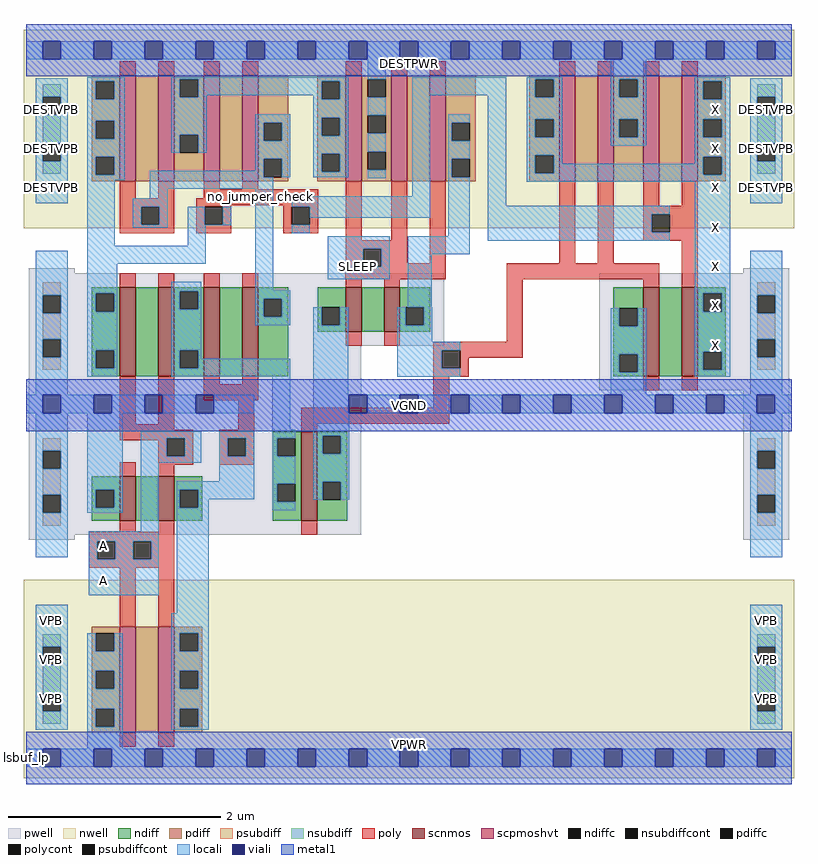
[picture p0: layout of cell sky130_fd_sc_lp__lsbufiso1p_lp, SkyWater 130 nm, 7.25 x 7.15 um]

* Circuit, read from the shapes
.subckt sky130_fd_sc_lp__lsbufiso1p_lp A DESTPWR DESTVPB SLEEP VGND VPB VPWR X
XM1 n1 A VGND VGND sky130_fd_pr__nfet_01v8 w=0.42 l=0.15
XM2 n2 A n3 VGND sky130_fd_pr__nfet_01v8 w=0.84 l=0.15
XM3 n4 A n1 VGND sky130_fd_pr__nfet_01v8 w=0.42 l=0.15
XM4 n5 A n2 VGND sky130_fd_pr__nfet_01v8 w=0.84 l=0.15
XM5 n6 n4 n5 VGND sky130_fd_pr__nfet_01v8 w=0.84 l=0.15
XM6 n7 n4 n6 VGND sky130_fd_pr__nfet_01v8 w=0.84 l=0.15
XM7 VGND n8 n5 VGND sky130_fd_pr__nfet_01v8 w=0.84 l=0.15
XM8 n9 SLEEP VGND VGND sky130_fd_pr__nfet_01v8 w=0.42 l=0.15
XM9 n8 SLEEP n9 VGND sky130_fd_pr__nfet_01v8 w=0.42 l=0.15
XM10 n10 n8 VGND VGND sky130_fd_pr__nfet_01v8 w=0.84 l=0.15
XM11 X n3 n10 VGND sky130_fd_pr__nfet_01v8 w=0.84 l=0.15
XM12 n11 A VPWR VPB sky130_fd_pr__pfet_01v8_hvt w=1 l=0.15
XM13 n12 n7 n3 DESTVPB sky130_fd_pr__pfet_01v8_hvt w=1 l=0.15
XM14 n4 A n11 VPB sky130_fd_pr__pfet_01v8_hvt w=1 l=0.15
XM15 n13 n7 n12 DESTVPB sky130_fd_pr__pfet_01v8_hvt w=1 l=0.15
XM16 n14 n3 n13 DESTVPB sky130_fd_pr__pfet_01v8_hvt w=1 l=0.15
XM17 n7 n3 n14 DESTVPB sky130_fd_pr__pfet_01v8_hvt w=1 l=0.15
XM18 DESTPWR SLEEP n13 DESTVPB sky130_fd_pr__pfet_01v8_hvt w=1 l=0.15
XM19 n15 SLEEP DESTPWR DESTVPB sky130_fd_pr__pfet_01v8_hvt w=1 l=0.15
XM20 n8 SLEEP n15 DESTVPB sky130_fd_pr__pfet_01v8_hvt w=1 l=0.15
XM21 n16 n8 X DESTVPB sky130_fd_pr__pfet_01v8_hvt w=1 l=0.15
XM22 DESTPWR n8 n16 DESTVPB sky130_fd_pr__pfet_01v8_hvt w=1 l=0.15
XM23 n17 n3 DESTPWR DESTVPB sky130_fd_pr__pfet_01v8_hvt w=1 l=0.15
XM24 X n3 n17 DESTVPB sky130_fd_pr__pfet_01v8_hvt w=1 l=0.15
.ends

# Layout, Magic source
magic
tech sky130A
magscale 1 2
<< nwell >>
rect -5 997 1445 1370
rect -5 -38 1445 335
<< pwell >>
rect 5 912 91 921
rect 1349 912 1435 921
rect 5 776 786 912
rect 5 420 630 776
rect 1078 692 1435 912
rect 5 411 91 420
rect 1349 411 1435 692
<< scnmos >>
rect 176 718 206 886
rect 248 718 278 886
rect 334 718 364 886
rect 406 718 436 886
rect 601 802 631 886
rect 673 802 703 886
rect 1161 718 1191 886
rect 1233 718 1263 886
rect 176 446 206 530
rect 248 446 278 530
rect 517 446 547 614
<< scpmoshvt >>
rect 176 1085 206 1285
rect 248 1085 278 1285
rect 334 1085 364 1285
rect 406 1085 436 1285
rect 601 1085 631 1285
rect 687 1085 717 1285
rect 759 1085 789 1285
rect 1003 1085 1033 1285
rect 1075 1085 1105 1285
rect 1161 1085 1191 1285
rect 1233 1085 1263 1285
rect 176 47 206 247
rect 248 47 278 247
<< ndiff >>
rect 123 874 176 886
rect 123 840 131 874
rect 165 840 176 874
rect 123 767 176 840
rect 123 733 131 767
rect 165 733 176 767
rect 123 718 176 733
rect 206 718 248 886
rect 278 878 334 886
rect 278 844 289 878
rect 323 844 334 878
rect 278 767 334 844
rect 278 733 289 767
rect 323 733 334 767
rect 278 718 334 733
rect 364 718 406 886
rect 436 864 493 886
rect 436 830 447 864
rect 481 830 493 864
rect 436 718 493 830
rect 548 848 601 886
rect 548 814 556 848
rect 590 814 601 848
rect 548 802 601 814
rect 631 802 673 886
rect 703 848 760 886
rect 703 814 714 848
rect 748 814 760 848
rect 703 802 760 814
rect 1104 846 1161 886
rect 1104 812 1116 846
rect 1150 812 1161 846
rect 1104 760 1161 812
rect 1104 726 1116 760
rect 1150 726 1161 760
rect 1104 718 1161 726
rect 1191 718 1233 886
rect 1263 874 1316 886
rect 1263 840 1274 874
rect 1308 840 1316 874
rect 1263 764 1316 840
rect 1263 730 1274 764
rect 1308 730 1316 764
rect 1263 718 1316 730
rect 464 602 517 614
rect 464 568 472 602
rect 506 568 517 602
rect 123 505 176 530
rect 123 471 131 505
rect 165 471 176 505
rect 123 446 176 471
rect 206 446 248 530
rect 278 505 331 530
rect 278 471 289 505
rect 323 471 331 505
rect 278 446 331 471
rect 464 516 517 568
rect 464 482 472 516
rect 506 482 517 516
rect 464 446 517 482
rect 547 606 604 614
rect 547 572 558 606
rect 592 572 604 606
rect 547 520 604 572
rect 547 486 558 520
rect 592 486 604 520
rect 547 446 604 486
<< pdiff >>
rect 123 1273 176 1285
rect 123 1239 131 1273
rect 165 1239 176 1273
rect 123 1199 176 1239
rect 123 1165 131 1199
rect 165 1165 176 1199
rect 123 1131 176 1165
rect 123 1097 131 1131
rect 165 1097 176 1131
rect 123 1085 176 1097
rect 206 1085 248 1285
rect 278 1277 334 1285
rect 278 1243 289 1277
rect 323 1243 334 1277
rect 278 1173 334 1243
rect 278 1139 289 1173
rect 323 1139 334 1173
rect 278 1085 334 1139
rect 364 1085 406 1285
rect 436 1195 493 1285
rect 436 1161 447 1195
rect 481 1161 493 1195
rect 436 1127 493 1161
rect 436 1093 447 1127
rect 481 1093 493 1127
rect 436 1085 493 1093
rect 547 1273 601 1285
rect 547 1239 556 1273
rect 590 1239 601 1273
rect 547 1205 601 1239
rect 547 1171 556 1205
rect 590 1171 601 1205
rect 547 1137 601 1171
rect 547 1103 556 1137
rect 590 1103 601 1137
rect 547 1085 601 1103
rect 631 1277 687 1285
rect 631 1243 642 1277
rect 676 1243 687 1277
rect 631 1209 687 1243
rect 631 1175 642 1209
rect 676 1175 687 1209
rect 631 1141 687 1175
rect 631 1107 642 1141
rect 676 1107 687 1141
rect 631 1085 687 1107
rect 717 1085 759 1285
rect 789 1195 846 1285
rect 789 1161 800 1195
rect 834 1161 846 1195
rect 789 1127 846 1161
rect 789 1093 800 1127
rect 834 1093 846 1127
rect 789 1085 846 1093
rect 946 1277 1003 1285
rect 946 1243 958 1277
rect 992 1243 1003 1277
rect 946 1202 1003 1243
rect 946 1168 958 1202
rect 992 1168 1003 1202
rect 946 1134 1003 1168
rect 946 1100 958 1134
rect 992 1100 1003 1134
rect 946 1085 1003 1100
rect 1033 1085 1075 1285
rect 1105 1277 1161 1285
rect 1105 1243 1116 1277
rect 1150 1243 1161 1277
rect 1105 1202 1161 1243
rect 1105 1168 1116 1202
rect 1150 1168 1161 1202
rect 1105 1085 1161 1168
rect 1191 1085 1233 1285
rect 1263 1273 1316 1285
rect 1263 1239 1274 1273
rect 1308 1239 1316 1273
rect 1263 1202 1316 1239
rect 1263 1168 1274 1202
rect 1308 1168 1316 1202
rect 1263 1131 1316 1168
rect 1263 1097 1274 1131
rect 1308 1097 1316 1131
rect 1263 1085 1316 1097
rect 123 235 176 247
rect 123 201 131 235
rect 165 201 176 235
rect 123 164 176 201
rect 123 130 131 164
rect 165 130 176 164
rect 123 93 176 130
rect 123 59 131 93
rect 165 59 176 93
rect 123 47 176 59
rect 206 47 248 247
rect 278 235 331 247
rect 278 201 289 235
rect 323 201 331 235
rect 278 164 331 201
rect 278 130 289 164
rect 323 130 331 164
rect 278 93 331 130
rect 278 59 289 93
rect 323 59 331 93
rect 278 47 331 59
<< ndiffc >>
rect 131 840 165 874
rect 131 733 165 767
rect 289 844 323 878
rect 289 733 323 767
rect 447 830 481 864
rect 556 814 590 848
rect 714 814 748 848
rect 1116 812 1150 846
rect 1116 726 1150 760
rect 1274 840 1308 874
rect 1274 730 1308 764
rect 472 568 506 602
rect 131 471 165 505
rect 289 471 323 505
rect 472 482 506 516
rect 558 572 592 606
rect 558 486 592 520
<< pdiffc >>
rect 131 1239 165 1273
rect 131 1165 165 1199
rect 131 1097 165 1131
rect 289 1243 323 1277
rect 289 1139 323 1173
rect 447 1161 481 1195
rect 447 1093 481 1127
rect 556 1239 590 1273
rect 556 1171 590 1205
rect 556 1103 590 1137
rect 642 1243 676 1277
rect 642 1175 676 1209
rect 642 1107 676 1141
rect 800 1161 834 1195
rect 800 1093 834 1127
rect 958 1243 992 1277
rect 958 1168 992 1202
rect 958 1100 992 1134
rect 1116 1243 1150 1277
rect 1116 1168 1150 1202
rect 1274 1239 1308 1273
rect 1274 1168 1308 1202
rect 1274 1097 1308 1131
rect 131 201 165 235
rect 131 130 165 164
rect 131 59 165 93
rect 289 201 323 235
rect 289 130 323 164
rect 289 59 323 93
<< psubdiff >>
rect 31 871 65 895
rect 31 788 65 837
rect 31 730 65 754
rect 1375 871 1409 895
rect 1375 788 1409 837
rect 1375 730 1409 754
rect 31 578 65 602
rect 31 495 65 544
rect 31 437 65 461
rect 1375 578 1409 602
rect 1375 495 1409 544
rect 1375 437 1409 461
<< nsubdiff >>
rect 31 1244 65 1268
rect 31 1157 65 1210
rect 31 1099 65 1123
rect 1375 1244 1409 1268
rect 1375 1157 1409 1210
rect 1375 1099 1409 1123
rect 31 209 65 233
rect 31 122 65 175
rect 31 64 65 88
rect 1375 209 1409 233
rect 1375 122 1409 175
rect 1375 64 1409 88
<< psubdiffcont >>
rect 31 837 65 871
rect 31 754 65 788
rect 1375 837 1409 871
rect 1375 754 1409 788
rect 31 544 65 578
rect 31 461 65 495
rect 1375 544 1409 578
rect 1375 461 1409 495
<< nsubdiffcont >>
rect 31 1210 65 1244
rect 31 1123 65 1157
rect 1375 1210 1409 1244
rect 1375 1123 1409 1157
rect 31 175 65 209
rect 31 88 65 122
rect 1375 175 1409 209
rect 1375 88 1409 122
<< poly >>
rect 176 1285 206 1311
rect 248 1285 278 1311
rect 334 1285 364 1311
rect 406 1285 436 1311
rect 601 1285 631 1311
rect 687 1285 717 1311
rect 759 1285 789 1311
rect 1003 1285 1033 1311
rect 1075 1285 1105 1311
rect 1161 1285 1191 1311
rect 1233 1285 1263 1311
rect 176 1053 206 1085
rect 248 1053 278 1085
rect 334 1070 364 1085
rect 406 1070 436 1085
rect 334 1053 549 1070
rect 176 1037 278 1053
rect 176 1003 216 1037
rect 250 1003 278 1037
rect 176 987 278 1003
rect 320 1040 549 1053
rect 320 1037 386 1040
rect 320 1003 336 1037
rect 370 1003 386 1037
rect 320 987 386 1003
rect 483 1037 549 1040
rect 483 1003 499 1037
rect 533 1003 549 1037
rect 483 987 549 1003
rect 601 974 631 1085
rect 687 974 717 1085
rect 601 958 717 974
rect 601 931 634 958
rect 600 924 634 931
rect 668 931 717 958
rect 759 931 789 1085
rect 1003 931 1033 1085
rect 1075 931 1105 1085
rect 1161 1039 1191 1085
rect 1233 1039 1263 1085
rect 1161 1023 1263 1039
rect 1161 989 1177 1023
rect 1211 989 1263 1023
rect 1161 973 1263 989
rect 668 924 789 931
rect 176 886 206 912
rect 248 886 278 912
rect 334 886 364 912
rect 406 886 436 912
rect 600 901 789 924
rect 904 901 1191 931
rect 601 886 631 901
rect 673 886 703 901
rect 601 776 631 802
rect 673 776 703 802
rect 904 783 934 901
rect 1161 886 1191 901
rect 1233 886 1263 973
rect 766 767 934 783
rect 766 733 782 767
rect 816 753 934 767
rect 816 733 832 753
rect 176 628 206 718
rect 248 628 278 718
rect 334 703 364 718
rect 406 703 436 718
rect 334 673 436 703
rect 766 717 832 733
rect 176 618 278 628
rect 399 618 429 673
rect 766 659 796 717
rect 1161 692 1191 718
rect 1233 692 1263 718
rect 176 602 314 618
rect 176 598 264 602
rect 248 568 264 598
rect 298 568 314 602
rect 176 530 206 556
rect 248 552 314 568
rect 363 602 429 618
rect 517 629 796 659
rect 517 614 547 629
rect 363 568 379 602
rect 413 568 429 602
rect 363 552 429 568
rect 248 530 278 552
rect 176 426 206 446
rect 248 426 278 446
rect 117 408 278 426
rect 517 420 547 446
rect 117 374 133 408
rect 167 374 201 408
rect 235 374 278 408
rect 117 358 278 374
rect 176 247 206 358
rect 248 247 278 358
rect 176 21 206 47
rect 248 21 278 47
<< polycont >>
rect 216 1003 250 1037
rect 336 1003 370 1037
rect 499 1003 533 1037
rect 634 924 668 958
rect 1177 989 1211 1023
rect 782 733 816 767
rect 264 568 298 602
rect 379 568 413 602
rect 133 374 167 408
rect 201 374 235 408
<< locali >>
rect 0 1315 31 1349
rect 65 1315 127 1349
rect 161 1315 223 1349
rect 257 1315 319 1349
rect 353 1315 415 1349
rect 449 1315 511 1349
rect 545 1315 607 1349
rect 641 1315 703 1349
rect 737 1315 799 1349
rect 833 1315 895 1349
rect 929 1315 991 1349
rect 1025 1315 1087 1349
rect 1121 1315 1183 1349
rect 1217 1315 1279 1349
rect 1313 1315 1375 1349
rect 1409 1315 1440 1349
rect 18 1244 78 1279
rect 18 1210 31 1244
rect 65 1210 78 1244
rect 18 1157 78 1210
rect 18 1123 31 1157
rect 65 1123 78 1157
rect 18 1044 78 1123
rect 115 1273 185 1281
rect 115 1239 131 1273
rect 165 1239 185 1273
rect 115 1199 185 1239
rect 115 1165 131 1199
rect 165 1165 185 1199
rect 115 1131 185 1165
rect 273 1277 606 1281
rect 273 1243 289 1277
rect 323 1273 606 1277
rect 323 1247 556 1273
rect 323 1243 339 1247
rect 273 1173 339 1243
rect 540 1239 556 1247
rect 590 1239 606 1273
rect 273 1139 289 1173
rect 323 1139 339 1173
rect 431 1195 497 1211
rect 431 1161 447 1195
rect 481 1161 497 1195
rect 115 1097 131 1131
rect 165 1097 185 1131
rect 431 1127 497 1161
rect 431 1105 447 1127
rect 115 1087 185 1097
rect 232 1093 447 1105
rect 481 1093 497 1127
rect 540 1205 606 1239
rect 540 1171 556 1205
rect 590 1171 606 1205
rect 540 1137 606 1171
rect 540 1103 556 1137
rect 590 1103 606 1137
rect 540 1093 606 1103
rect 642 1277 676 1315
rect 642 1209 676 1243
rect 642 1141 676 1175
rect 115 964 166 1087
rect 232 1071 465 1093
rect 642 1091 676 1107
rect 726 1247 903 1281
rect 232 1053 266 1071
rect 200 1037 266 1053
rect 200 1003 216 1037
rect 250 1003 266 1037
rect 200 998 266 1003
rect 304 1003 336 1037
rect 370 1003 386 1037
rect 304 1002 386 1003
rect 304 964 338 1002
rect 18 871 78 954
rect 18 837 31 871
rect 65 837 78 871
rect 18 788 78 837
rect 18 754 31 788
rect 65 754 78 788
rect 18 683 78 754
rect 115 930 338 964
rect 115 874 171 930
rect 115 840 131 874
rect 165 840 171 874
rect 115 767 171 840
rect 115 733 131 767
rect 165 733 171 767
rect 115 717 171 733
rect 273 878 329 896
rect 273 844 289 878
rect 323 844 329 878
rect 273 767 329 844
rect 431 880 465 1071
rect 726 1057 760 1247
rect 499 1037 760 1057
rect 533 1016 760 1037
rect 794 1195 834 1211
rect 794 1161 800 1195
rect 794 1127 834 1161
rect 794 1093 800 1127
rect 499 987 533 1003
rect 794 982 834 1093
rect 567 958 684 982
rect 567 924 634 958
rect 668 924 684 958
rect 567 901 684 924
rect 718 948 834 982
rect 868 1039 903 1247
rect 942 1277 1008 1281
rect 942 1243 958 1277
rect 992 1243 1008 1277
rect 942 1202 1008 1243
rect 942 1168 958 1202
rect 992 1168 1008 1202
rect 942 1134 1008 1168
rect 1100 1277 1166 1315
rect 1100 1243 1116 1277
rect 1150 1243 1166 1277
rect 1100 1202 1166 1243
rect 1100 1168 1116 1202
rect 1150 1168 1166 1202
rect 1100 1152 1166 1168
rect 1258 1273 1324 1281
rect 1258 1239 1274 1273
rect 1308 1239 1324 1273
rect 1258 1202 1324 1239
rect 1258 1168 1274 1202
rect 1308 1168 1324 1202
rect 942 1100 958 1134
rect 992 1118 1008 1134
rect 1258 1131 1324 1168
rect 1258 1118 1274 1131
rect 992 1100 1274 1118
rect 942 1097 1274 1100
rect 1308 1097 1324 1131
rect 942 1084 1324 1097
rect 868 1023 1211 1039
rect 868 989 1177 1023
rect 868 973 1211 989
rect 431 864 497 880
rect 431 830 447 864
rect 481 830 497 864
rect 718 848 763 948
rect 1258 874 1324 1084
rect 1362 1244 1422 1279
rect 1362 1210 1375 1244
rect 1409 1210 1422 1244
rect 1362 1157 1422 1210
rect 1362 1123 1375 1157
rect 1409 1123 1422 1157
rect 1362 1044 1422 1123
rect 431 814 497 830
rect 540 814 556 848
rect 590 814 606 848
rect 273 733 289 767
rect 323 751 329 767
rect 323 733 497 751
rect 273 717 497 733
rect 0 649 31 683
rect 65 649 127 683
rect 161 649 223 683
rect 257 649 319 683
rect 353 649 429 683
rect 18 578 78 649
rect 18 544 31 578
rect 65 544 78 578
rect 18 495 78 544
rect 18 461 31 495
rect 65 461 78 495
rect 115 505 181 649
rect 463 618 497 717
rect 540 683 606 814
rect 698 814 714 848
rect 748 814 764 848
rect 698 783 764 814
rect 1100 812 1116 846
rect 1150 812 1166 846
rect 698 767 816 783
rect 698 733 782 767
rect 698 717 816 733
rect 1100 760 1166 812
rect 1100 726 1116 760
rect 1150 726 1166 760
rect 1100 683 1166 726
rect 1258 840 1274 874
rect 1308 840 1324 874
rect 1258 764 1324 840
rect 1258 730 1274 764
rect 1308 730 1324 764
rect 1258 717 1324 730
rect 1362 871 1422 954
rect 1362 837 1375 871
rect 1409 837 1422 871
rect 1362 788 1422 837
rect 1362 754 1375 788
rect 1409 754 1422 788
rect 1362 683 1422 754
rect 540 649 607 683
rect 641 649 703 683
rect 737 649 799 683
rect 833 649 895 683
rect 929 649 991 683
rect 1025 649 1087 683
rect 1121 649 1183 683
rect 1217 649 1279 683
rect 1313 649 1374 683
rect 1408 649 1440 683
rect 115 471 131 505
rect 165 471 181 505
rect 115 461 181 471
rect 215 602 329 615
rect 215 568 264 602
rect 298 568 329 602
rect 215 555 329 568
rect 363 602 429 615
rect 363 568 379 602
rect 413 568 429 602
rect 18 378 78 461
rect 215 427 249 555
rect 363 521 429 568
rect 117 408 249 427
rect 117 374 133 408
rect 167 374 201 408
rect 235 374 249 408
rect 117 306 249 374
rect 283 505 429 521
rect 283 471 289 505
rect 323 487 429 505
rect 463 602 506 618
rect 463 568 472 602
rect 463 516 506 568
rect 323 471 343 487
rect 18 209 78 288
rect 283 272 343 471
rect 463 482 472 516
rect 540 606 608 649
rect 540 572 558 606
rect 592 572 608 606
rect 540 520 608 572
rect 540 486 558 520
rect 592 486 608 520
rect 1362 578 1422 649
rect 1362 544 1375 578
rect 1409 544 1422 578
rect 1362 495 1422 544
rect 463 466 506 482
rect 1362 461 1375 495
rect 1409 461 1422 495
rect 1362 378 1422 461
rect 273 235 343 272
rect 18 175 31 209
rect 65 175 78 209
rect 18 122 78 175
rect 18 88 31 122
rect 65 88 78 122
rect 18 53 78 88
rect 115 201 131 235
rect 165 201 181 235
rect 115 164 181 201
rect 115 130 131 164
rect 165 130 181 164
rect 115 93 181 130
rect 115 59 131 93
rect 165 59 181 93
rect 115 17 181 59
rect 273 201 289 235
rect 323 201 343 235
rect 273 164 343 201
rect 273 130 289 164
rect 323 130 343 164
rect 273 93 343 130
rect 273 59 289 93
rect 323 59 343 93
rect 273 53 343 59
rect 1362 209 1422 288
rect 1362 175 1375 209
rect 1409 175 1422 209
rect 1362 122 1422 175
rect 1362 88 1375 122
rect 1409 88 1422 122
rect 1362 53 1422 88
rect 0 -17 31 17
rect 65 -17 127 17
rect 161 -17 223 17
rect 257 -17 319 17
rect 353 -17 415 17
rect 449 -17 511 17
rect 545 -17 607 17
rect 641 -17 703 17
rect 737 -17 799 17
rect 833 -17 895 17
rect 929 -17 991 17
rect 1025 -17 1087 17
rect 1121 -17 1183 17
rect 1217 -17 1279 17
rect 1313 -17 1375 17
rect 1409 -17 1440 17
<< viali >>
rect 31 1315 65 1349
rect 127 1315 161 1349
rect 223 1315 257 1349
rect 319 1315 353 1349
rect 415 1315 449 1349
rect 511 1315 545 1349
rect 607 1315 641 1349
rect 703 1315 737 1349
rect 799 1315 833 1349
rect 895 1315 929 1349
rect 991 1315 1025 1349
rect 1087 1315 1121 1349
rect 1183 1315 1217 1349
rect 1279 1315 1313 1349
rect 1375 1315 1409 1349
rect 31 649 65 683
rect 127 649 161 683
rect 223 649 257 683
rect 319 649 353 683
rect 607 649 641 683
rect 703 649 737 683
rect 799 649 833 683
rect 895 649 929 683
rect 991 649 1025 683
rect 1087 649 1121 683
rect 1183 649 1217 683
rect 1279 649 1313 683
rect 1374 649 1408 683
rect 31 -17 65 17
rect 127 -17 161 17
rect 223 -17 257 17
rect 319 -17 353 17
rect 415 -17 449 17
rect 511 -17 545 17
rect 607 -17 641 17
rect 703 -17 737 17
rect 799 -17 833 17
rect 895 -17 929 17
rect 991 -17 1025 17
rect 1087 -17 1121 17
rect 1183 -17 1217 17
rect 1279 -17 1313 17
rect 1375 -17 1409 17
<< metal1 >>
rect 0 1349 1440 1381
rect 0 1315 31 1349
rect 65 1315 127 1349
rect 161 1315 223 1349
rect 257 1315 319 1349
rect 353 1315 415 1349
rect 449 1315 511 1349
rect 545 1315 607 1349
rect 641 1315 703 1349
rect 737 1315 799 1349
rect 833 1315 895 1349
rect 929 1315 991 1349
rect 1025 1315 1087 1349
rect 1121 1315 1183 1349
rect 1217 1315 1279 1349
rect 1313 1315 1375 1349
rect 1409 1315 1440 1349
rect 0 1283 1440 1315
rect 0 683 1440 713
rect 0 649 31 683
rect 65 649 127 683
rect 161 649 223 683
rect 257 649 319 683
rect 353 649 607 683
rect 641 649 703 683
rect 737 649 799 683
rect 833 649 895 683
rect 929 649 991 683
rect 1025 649 1087 683
rect 1121 649 1183 683
rect 1217 649 1279 683
rect 1313 649 1374 683
rect 1408 649 1440 683
rect 0 615 1440 649
rect 0 17 1440 49
rect 0 -17 31 17
rect 65 -17 127 17
rect 161 -17 223 17
rect 257 -17 319 17
rect 353 -17 415 17
rect 449 -17 511 17
rect 545 -17 607 17
rect 641 -17 703 17
rect 737 -17 799 17
rect 833 -17 895 17
rect 929 -17 991 17
rect 1025 -17 1087 17
rect 1121 -17 1183 17
rect 1217 -17 1279 17
rect 1313 -17 1375 17
rect 1409 -17 1440 17
rect 0 -49 1440 -17
<< labels >>
flabel locali s 1279 1204 1313 1238 0 FreeSans 200 0 0 0 X
port 8 nsew signal output
flabel locali s 128 383 162 417 0 FreeSans 200 0 0 0 A
port 1 nsew signal input
flabel locali s 1279 760 1313 794 0 FreeSans 200 0 0 0 X
port 8 nsew signal output
flabel locali s 1279 908 1313 942 0 FreeSans 200 0 0 0 X
port 8 nsew signal output
flabel locali s 1279 834 1313 868 0 FreeSans 200 0 0 0 X
port 8 nsew signal output
flabel locali s 1279 1056 1313 1090 0 FreeSans 200 0 0 0 X
port 8 nsew signal output
flabel locali s 1279 982 1313 1016 0 FreeSans 200 0 0 0 X
port 8 nsew signal output
flabel locali s 128 316 162 350 0 FreeSans 200 0 0 0 A
port 1 nsew signal input
flabel locali s 1279 1130 1313 1164 0 FreeSans 200 0 0 0 X
port 8 nsew signal output
flabel locali s 607 908 641 942 0 FreeSans 200 0 0 0 SLEEP
port 4 nsew signal input
flabel locali s 31 242 65 276 0 FreeSans 340 0 0 0 VPB
port 6 nsew power bidirectional
flabel locali s 31 94 65 128 0 FreeSans 340 0 0 0 VPB
port 6 nsew power bidirectional
flabel locali s 31 168 65 202 0 FreeSans 340 0 0 0 VPB
port 6 nsew power bidirectional
flabel locali s 31 1204 65 1238 0 FreeSans 150 0 0 0 DESTVPB
port 3 nsew power bidirectional
flabel locali s 31 1130 65 1164 0 FreeSans 150 0 0 0 DESTVPB
port 3 nsew power bidirectional
flabel locali s 1375 94 1409 128 0 FreeSans 340 0 0 0 VPB
port 6 nsew power bidirectional
flabel locali s 1375 168 1409 202 0 FreeSans 340 0 0 0 VPB
port 6 nsew power bidirectional
flabel locali s 1375 242 1409 276 0 FreeSans 340 0 0 0 VPB
port 6 nsew power bidirectional
flabel locali s 1375 1204 1409 1238 0 FreeSans 150 0 0 0 DESTVPB
port 3 nsew power bidirectional
flabel locali s 1375 1130 1409 1164 0 FreeSans 150 0 0 0 DESTVPB
port 3 nsew power bidirectional
flabel locali s 1375 1056 1409 1090 0 FreeSans 150 0 0 0 DESTVPB
port 3 nsew power bidirectional
flabel locali s 31 1056 65 1090 0 FreeSans 150 0 0 0 DESTVPB
port 3 nsew power bidirectional
rlabel comment s 0 0 0 0 4 lsbuf_lp
flabel comment s 441 1056 441 1056 0 FreeSans 200 0 0 0 no_jumper_check
flabel metal1 s 0 0 1440 49 0 FreeSans 200 0 0 0 VPWR
port 7 nsew power bidirectional
flabel metal1 s 0 1283 1440 1332 0 FreeSans 200 0 0 0 DESTPWR
port 2 nsew power bidirectional
flabel metal1 s 0 615 1440 713 0 FreeSans 200 0 0 0 VGND
port 5 nsew ground bidirectional
<< properties >>
string LEFsite unit
string LEFclass CORE
string FIXED_BBOX 0 0 1440 1332
string GDS_FILE $PDKPATH/libs.ref/sky130_fd_sc_lp/gds/sky130_fd_sc_lp.gds
string LEFsymmetry X Y R90
string GDS_END 1297896
string GDS_START 1281058
<< end >>
